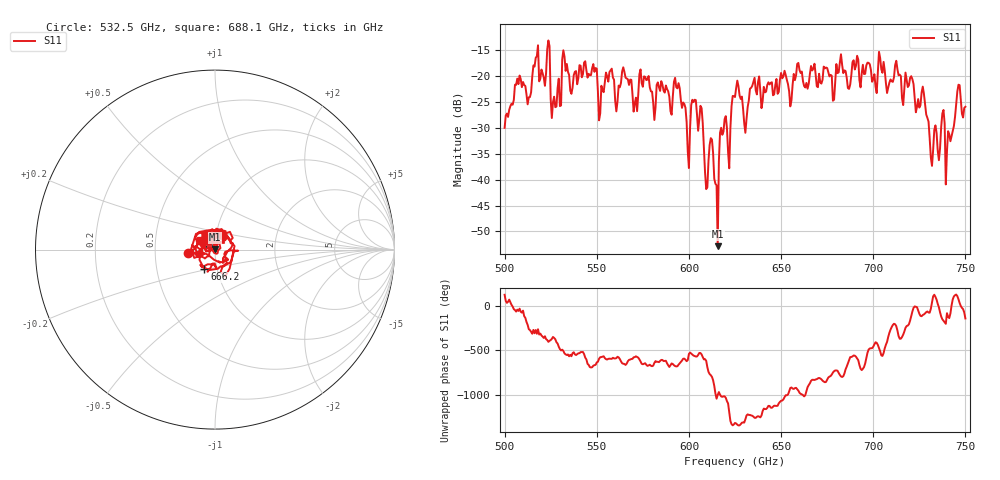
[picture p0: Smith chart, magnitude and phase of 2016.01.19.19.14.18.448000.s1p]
!Created with skrf (http://scikit-rf.org).
# GHz S RI R 50.0
!freq ReS11 ImS11
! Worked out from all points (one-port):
!   401 points, 500 GHz to 750 GHz, reference 50 ohm
!   lowest |S11| = -52.8 dB at 615.6 GHz (marker M1), VSWR 1.00, Z = 50 + j0.227 ohm
!   |S11| at or under -10 dB: start of sweep to end of sweep
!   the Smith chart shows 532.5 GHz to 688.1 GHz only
!   S11 on the Smith chart (normalised r, x): 532.5 GHz: 0.74, -0.03; 666.2 GHz: 0.87, -0.19; 688.1 GHz: 0.84, +0.09
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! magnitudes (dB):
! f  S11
! 500 GHz  -30.1
! 513.1 GHz  -24.2
! 516.9 GHz  -16.6
! 523.8 GHz  -13.2
! 526.9 GHz  -24.1
! 531.2 GHz  -16.9
! 532.5 GHz  -16.4
! 562.5 GHz  -22.2
! 593.8 GHz  -22.4
! 599.4 GHz  -34.6
! 602.5 GHz  -25.1
! 606.9 GHz  -26.2
! 609.4 GHz  -41.8
! 611.9 GHz  -32.0
! 615.6 GHz  -52.8
! 618.1 GHz  -31.4
! 621.9 GHz  -37.8
! 625 GHz  -24.1
! 630.6 GHz  -31.0
! 634.4 GHz  -21.9
! 656.2 GHz  -21.8
! 666.2 GHz  -18.1
! 687.5 GHz  -21.7
! 688.1 GHz  -19.8
! 718.8 GHz  -22.2
! 727.5 GHz  -23.5
! 731.9 GHz  -37.4
! 750 GHz  -26.0
